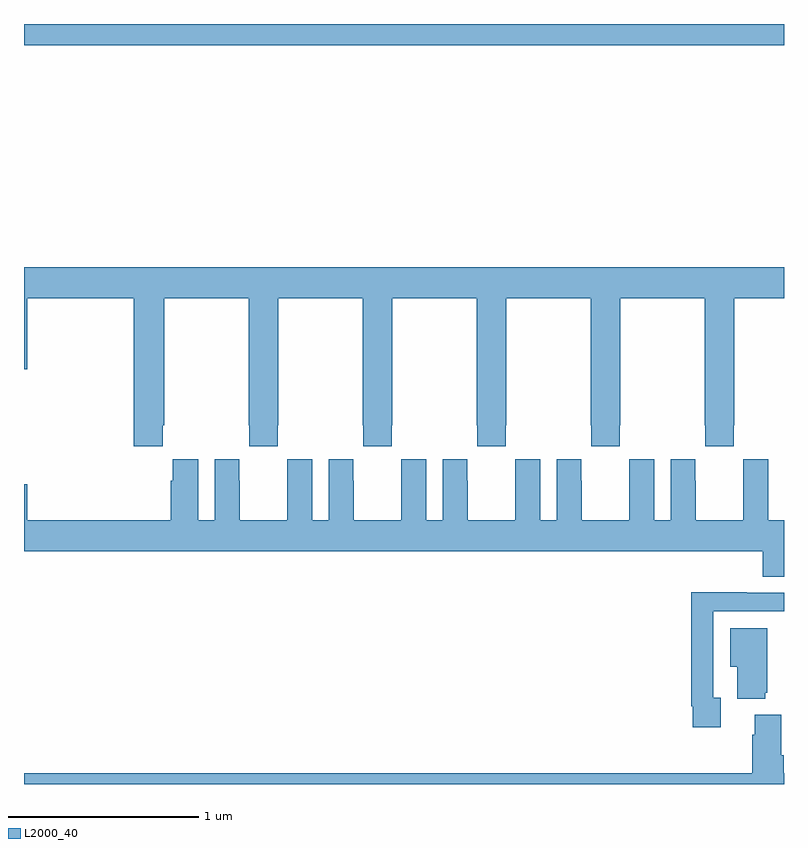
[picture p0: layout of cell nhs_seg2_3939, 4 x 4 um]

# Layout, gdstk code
import gdstk
lib = gdstk.Library(unit=1e-6, precision=1e-09)
def R(c, l, rs):  # rectangles x0, y0, x1, y1
    for r in rs: c.add(gdstk.rectangle(r[:2], r[2:], *l))
def P(c, l, *ps):  # polygons
    for p in ps: c.add(gdstk.Polygon(p, *l))
L2000_40 = (2000, 40)

nhs_seg2_3939 = lib.new_cell('nhs_seg2_3939')
R(nhs_seg2_3939, L2000_40, [(321,595.688,325,595.8)])
P(nhs_seg2_3939, L2000_40, [(321.731,593.689),(321.738,593.689),(321.738,594.356),(322.183,594.356),(322.183,593.689),(322.185,593.689),(322.185,593.577),(322.335,593.577),(322.335,593.689),(322.338,593.689),(322.338,594.356),(322.783,594.356),(322.783,593.689),(322.785,593.689),(322.785,593.577),(322.935,593.577),(322.935,593.689),(322.938,593.689),(322.938,594.356),(323.383,594.356),(323.383,593.689),(323.385,593.689),(323.385,593.577),(323.535,593.577),(323.535,593.689),(323.538,593.689),(323.538,594.356),(323.983,594.356),(323.983,593.689),(323.985,593.689),(323.985,593.577),(324.135,593.577),(324.135,593.689),(324.138,593.689),(324.138,594.356),(324.583,594.356),(324.583,593.689),(324.585,593.689),(324.585,593.577),(324.735,593.577),(324.735,593.689),(324.738,593.689),(324.738,594.356),(325,594.356),(325,594.52),(321,594.52),(321,593.982),(321.016,593.982),(321.016,594.356),(321.578,594.356),(321.578,593.577),(321.731,593.577)],
  [(323.334,593.396),(323.334,593.509),(323.204,593.509),(323.204,593.188),(323.116,593.188),(323.116,593.509),(322.986,593.509),(322.986,593.396),(322.985,593.396),(322.985,593.188),(322.735,593.188),(322.735,593.396),(322.734,593.396),(322.734,593.509),(322.604,593.509),(322.604,593.188),(322.516,593.188),(322.516,593.509),(322.386,593.509),(322.386,593.396),(322.385,593.396),(322.385,593.188),(322.135,593.188),(322.135,593.396),(322.134,593.396),(322.134,593.509),(322.004,593.509),(322.004,593.188),(321.916,593.188),(321.916,593.509),(321.782,593.509),(321.782,593.396),(321.773,593.396),(321.773,593.188),(321.016,593.188),(321.016,593.377),(321,593.377),(321,593.024),(324.887,593.024),(324.887,592.891),(325,592.891),(325,593.188),(324.916,593.188),(324.916,593.509),(324.786,593.509),(324.786,593.396),(324.785,593.396),(324.785,593.188),(324.535,593.188),(324.535,593.396),(324.534,593.396),(324.534,593.509),(324.404,593.509),(324.404,593.188),(324.316,593.188),(324.316,593.509),(324.186,593.509),(324.186,593.396),(324.185,593.396),(324.185,593.188),(323.935,593.188),(323.935,593.396),(323.934,593.396),(323.934,593.509),(323.804,593.509),(323.804,593.188),(323.716,593.188),(323.716,593.509),(323.586,593.509),(323.586,593.396),(323.585,593.396),(323.585,593.188),(323.335,593.188),(323.335,593.396)],
  [(324.667,592.254),(324.627,592.254),(324.627,592.71),(325,592.71),(325,592.806),(324.803,592.806),(324.803,592.808),(324.511,592.808),(324.511,592.21),(324.519,592.21),(324.519,592.098),(324.667,592.098)],
  [(324.902,592.281),(324.913,592.281),(324.913,592.621),(324.716,592.621),(324.716,592.418),(324.755,592.418),(324.755,592.25),(324.902,592.25)],
  [(325,591.856),(324.998,591.856),(324.998,591.952),(324.985,591.952),(324.985,592.165),(324.845,592.165),(324.845,592.058),(324.833,592.058),(324.833,591.856),(321,591.856),(321,591.8),(325,591.8)])

lib.write_gds('nhs_seg2_3939.gds')
